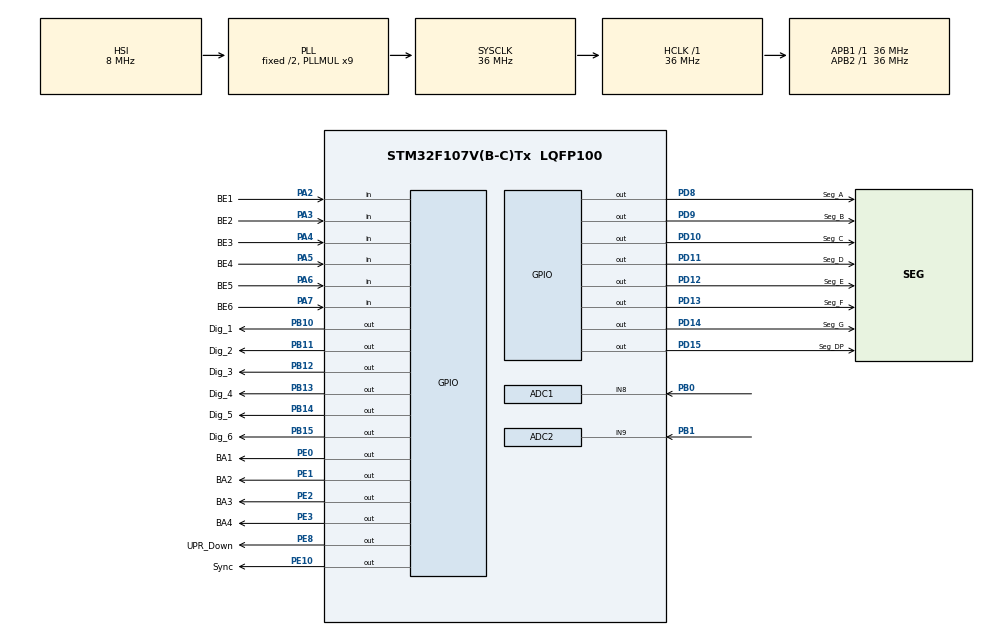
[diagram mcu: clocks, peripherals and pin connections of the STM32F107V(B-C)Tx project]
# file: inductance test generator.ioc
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ADC1.Channel-0\#ChannelRegularConversion=ADC_CHANNEL_8
ADC1.ContinuousConvMode=ENABLE
ADC1.NbrOfConversionFlag=1
ADC1.Rank-0\#ChannelRegularConversion=1
ADC1.SamplingTime-0\#ChannelRegularConversion=ADC_SAMPLETIME_1CYCLE_5
ADC1.master=1
ADC2.Channel-1\#ChannelRegularConversion=ADC_CHANNEL_9
ADC2.ContinuousConvMode=DISABLE
ADC2.EnableRegularConversion=ENABLE
ADC2.ExternalTrigConv=ADC_EXTERNALTRIGCONV_T2_CC2
ADC2.NbrOfConversionFlag=1
ADC2.Rank-1\#ChannelRegularConversion=1
ADC2.SamplingTime-1\#ChannelRegularConversion=ADC_SAMPLETIME_13CYCLES_5
Mcu.Family=STM32F1
Mcu.Name=STM32F107V(B-C)Tx
Mcu.Package=LQFP100
NVIC.PriorityGroup=NVIC_PRIORITYGROUP_4
NVIC.TIM2_IRQn=true\:5\:0\:false\:false\:true\:false\:true\:false
PA13.Mode=Serial_Wire
PA13.Signal=SYS_JTMS-SWDIO
PA14.Mode=Serial_Wire
PA14.Signal=SYS_JTCK-SWCLK
PA2.GPIO_Label=BE1
PA2.Signal=GPIO_Input
PA3.GPIO_Label=BE2
PA3.Signal=GPIO_Input
PA4.GPIO_Label=BE3
PA4.Signal=GPIO_Input
PA5.GPIO_Label=BE4
PA5.Signal=GPIO_Input
PA6.GPIO_Label=BE5
PA6.Signal=GPIO_Input
PA7.GPIO_Label=BE6
PA7.Signal=GPIO_Input
PB0.Signal=ADCx_IN8
PB1.Signal=ADCx_IN9
PB10.GPIO_Label=Dig_1
PB10.Signal=GPIO_Output
PB11.GPIO_Label=Dig_2
PB11.Signal=GPIO_Output
PB12.GPIO_Label=Dig_3
PB12.Signal=GPIO_Output
PB13.GPIO_Label=Dig_4
PB13.Signal=GPIO_Output
PB14.GPIO_Label=Dig_5
PB14.Signal=GPIO_Output
PB15.GPIO_Label=Dig_6
PB15.Signal=GPIO_Output
PD10.GPIO_Label=Seg_C
PD10.Signal=GPIO_Output
PD11.GPIO_Label=Seg_D
PD11.Signal=GPIO_Output
PD12.GPIO_Label=Seg_E
PD12.Signal=GPIO_Output
PD13.GPIO_Label=Seg_F
PD13.Signal=GPIO_Output
PD14.GPIO_Label=Seg_G
PD14.Signal=GPIO_Output
PD15.GPIO_Label=Seg_DP
PD15.Signal=GPIO_Output
PD8.GPIO_Label=Seg_A
PD8.Signal=GPIO_Output
PD9.GPIO_Label=Seg_B
PD9.Signal=GPIO_Output
PE0.GPIO_Label=BA1
PE0.Signal=GPIO_Output
PE1.GPIO_Label=BA2
PE1.Signal=GPIO_Output
PE10.GPIO_Label=Sync
PE10.Signal=GPIO_Output
PE2.GPIO_Label=BA3
PE2.Signal=GPIO_Output
PE3.GPIO_Label=BA4
PE3.Signal=GPIO_Output
PE8.GPIO_Label=UPR_Down
PE8.Signal=GPIO_Output
ProjectManager.HeapSize=0x200
ProjectManager.StackSize=0x400
ProjectManager.TargetToolchain=STM32CubeIDE
RCC.ADCPresc=RCC_ADCPCLK2_DIV4
RCC.AHBFreq_Value=36000000
RCC.APB1Freq_Value=36000000
RCC.APB1TimFreq_Value=36000000
RCC.APB2Freq_Value=36000000
RCC.APB2TimFreq_Value=36000000
RCC.HCLKFreq_Value=36000000
RCC.PLLMUL=RCC_PLL_MUL9
RCC.SYSCLKFreq_VALUE=36000000
RCC.SYSCLKSource=RCC_SYSCLKSOURCE_PLLCLK
RCC.USBFreq_Value=24000000
SH.ADCx_IN8.0=ADC1_IN8,IN8
SH.ADCx_IN9.0=ADC2_IN9,IN9
TIM2.Channel-Output\ Compare2\ No\ Output=TIM_CHANNEL_2
TIM2.OCMode_2=TIM_OCMODE_PWM1
TIM2.Period=719
TIM2.TIM_MasterOutputTrigger=TIM_TRGO_UPDATE
VP_TIM2_VS_ClockSourceINT.Mode=Internal
VP_TIM2_VS_no_output2.Mode=Output Compare2 No Output
board=custom

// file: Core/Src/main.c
/* USER CODE BEGIN Header */
/**
  ******************************************************************************
  * @file           : main.c
  * @brief          : Main program body
  ******************************************************************************
  * @attention
  *
  * Copyright (c) 2026 STMicroelectronics.
  * All rights reserved.
  *
  * This software is licensed under terms that can be found in the LICENSE file
  * in the root directory of this software component.
  * If no LICENSE file comes with this software, it is provided AS-IS.
  *
  ******************************************************************************
  */
/* USER CODE END Header */
#include "main.h"

/* USER CODE BEGIN Includes */
#include "7SegmentH.h"
/* USER CODE END Includes */

/* USER CODE BEGIN PD */
#define U_target 1254				//целевое напряжение 80В (калибровка АЦП1)
#define U_safe 334				//напряжение 20В (калибровка АЦП1)
#define MAX_PULSE_MS 500			// мс, макс. длительность открытого состояния транзистора в импульсе (защита от зависания)
#define I_STEP 5				// А, шаг регулировки I
#define I_MIN 10				// А, минимальная уставка I
#define I_MAX 300				// А, максимальная уставка I
#define L_max 51000				// мкГн, кратно L_STEP_MILLI (макс. уставка = L_max-L_STEP_MILLI = 50000)
#define L_MIN 10				// мкГн, минимальная уставка L
#define L_MILLI_THRESHOLD 1000			// мкГн (=1 мГн) - порог смены шага регулировки L
#define L_STEP_MICRO 10				// мкГн, шаг регулировки L пока L < L_MILLI_THRESHOLD
#define L_STEP_MILLI 1000			// мкГн, шаг регулировки L начиная с L_MILLI_THRESHOLD (1 мГн - один видимый "тик" на экране)
#define dt 20				// мкс, период тика TIM2 = период выборки АЦП2 (см. MX_TIM2_Init)
#define L_SAT_RATIO 0.97f			// порог начала насыщения: L_eff/L_target
#define BUTTON_REPEAT_MS 150			// мс, мин. интервал между шагами I/L при удержании кнопки
#define LAMP_MIN_ON_MS 400			// мс, мин. время свечения лампы "Импульс" (BA4) - реальный импульс часто короче, чем успевает заметить глаз

#define U_ADC_OFFSET 25				// отсчётов АЦП1 при 0В (калибровка 0-100В/5В, МНК)
#define ADC_TO_MV 65.09f			// мВ на 1 отсчёт АЦП1 сверх офсета (калибровка 0-100В/5В, МНК)
#define ADC1_TO_MV(adc) ( ((float)(adc) > U_ADC_OFFSET) ? (((float)(adc) - U_ADC_OFFSET) * ADC_TO_MV) : 0.0f )

#define ADC_TO_MA 82.61f			// мА на 1 отсчёт АЦП2 (калибровка по 3007.xlsx, 35-78А, МНК через ноль)

// Насыщение (case 4): dI по окну из нескольких сэмплов АЦП2 + гистерезис + целочисленная
// арифметика вместо float - см. CLAUDE.md, раздел про state 4, почему одиночный сэмпл
// давал ложные срабатывания.
// Окно/гистерезис зависят от уставки L (см. Sat_Window_Active/Sat_Hysteresis_Active, выставляются
// при старте импульса в case 3): для L ниже SAT_SMALL_L_THRESHOLD_UH бюджет времени на подтверждение
// насыщения (WIN*HYST*dt) становится сравним с самой длительностью импульса до токового предела
// (t~L*I/U) - там используем более быстрые 8/3; для L покрупнее (испытано на стенде на ДУТ 30мГн)
// запас времени большой, поэтому 16/4 нарочно отодвигает срабатывание, чтобы перегиб успел
// развернуться на экране осциллографа - см. CLAUDE.md, раздел "Trade-off for small L".
#define SAT_WINDOW_SAMPLES_SMALL_L 8		// сэмплов АЦП2 на окно, L < SAT_SMALL_L_THRESHOLD_UH
#define SAT_HYSTERESIS_COUNT_SMALL_L 3		// подряд идущих "насыщенных" окон, L < SAT_SMALL_L_THRESHOLD_UH
#define SAT_WINDOW_SAMPLES_LARGE_L 16		// сэмплов АЦП2 на окно, L >= SAT_SMALL_L_THRESHOLD_UH
#define SAT_HYSTERESIS_COUNT_LARGE_L 4		// подряд идущих "насыщенных" окон, L >= SAT_SMALL_L_THRESHOLD_UH - не опускать ниже 4 при окне 16: WIN=16/HYST=3 на бенч-данных (DATA/Newfile1eee.csv) дал ложное срабатывание на 31.85мс/36А (ещё до реального насыщения, от спада наклона из-за сопротивления контура)
#define SAT_SMALL_L_THRESHOLD_UH 1000		// мкГн (=1 мГн) - порог переключения окна/гистерезиса насыщения (не путать с L_MILLI_THRESHOLD - тот про шаг регулировки/индикацию, здесь совпадение значения не принципиально)
#define ADC_TO_MV_FIXED100 6509		// ADC_TO_MV*100, целое (см. ADC_TO_MV)
#define ADC_TO_MA_FIXED100 8261		// ADC_TO_MA*100, целое (см. ADC_TO_MA)
#define L_SAT_RATIO_FIXED100 97		// L_SAT_RATIO*100, целое (см. L_SAT_RATIO)
#define SAT_CUTOFF_DELAY_MS 6		// мс, задержка от подтверждённого saturated=true до реального размыкания транзистора -
					// чтобы "хвостик" насыщения успел развернуться на экране осциллографа (см. CLAUDE.md,
					// раздел про state 4/насыщение). Не касается overcurrent - тот остаётся мгновенным
					// аппаратным пределом, задержка добавляется только для ветки насыщения.
/* USER CODE END PD */

ADC_HandleTypeDef hadc1;
ADC_HandleTypeDef hadc2;

TIM_HandleTypeDef htim2;

/* USER CODE BEGIN PV */
uint8_t Stop,Pusk,I_Plus,I_Minus,L_Plus,L_Minus,L_Pressed,I_Pressed;//buttons&flags
uint8_t state = 1;
uint16_t I=10;
uint16_t L=100;
uint16_t U_adc=0,U, I_adc=0;//u=adc1
uint8_t Measuring_First_Sample;
uint32_t Time;//время
uint32_t Button_Repeat_Time;
uint32_t Pulse_Time;//момент начала импульса (state 4), для защиты от зависания транзистора
volatile uint32_t Tim2_Tick_Count;//инкрементируется в HAL_TIM_PeriodElapsedCallback (TIM2 update IRQ), реальное число тиков TIM2 (dt=20мкс каждый) - не зависит от скорости главного цикла
uint16_t I_window_start;//I_adc в начале текущего окна усреднения dI (насыщение, case 4)
uint32_t Tick_window_start;//Tim2_Tick_Count в начале текущего окна
uint8_t Samples_In_Window;//сколько сэмплов АЦП2 накоплено в текущем окне
uint8_t Saturation_Hit_Count;//сколько подряд окон подряд показали насыщение (гистерезис)
uint8_t Sat_Window_Active;//SAT_WINDOW_SAMPLES_SMALL_L/LARGE_L - выбирается по L при старте импульса (case 3)
uint8_t Sat_Hysteresis_Active;//SAT_HYSTERESIS_COUNT_SMALL_L/LARGE_L - выбирается по L при старте импульса (case 3)
uint8_t Saturation_Confirmed;//saturated уже был true хотя бы раз в этом импульсе - см. SAT_CUTOFF_DELAY_MS
uint32_t Saturation_Confirmed_Time;//HAL_GetTick() в момент первого saturated=true в этом импульсе
uint32_t Lamp_On_Time;//момент включения лампы "Импульс" (BA4), для LAMP_MIN_ON_MS
uint8_t Lamp_Pending_Off;//реальный импульс уже закончился, лампа гаснет отложенно по таймеру
/* USER CODE END PV */

void SystemClock_Config(void);
static void MX_GPIO_Init(void);
static void MX_ADC1_Init(void);
static void MX_ADC2_Init(void);
static void MX_TIM2_Init(void);

int main(void)
{

  /* MCU Configuration--------------------------------------------------------*/

  /* Reset of all peripherals, Initializes the Flash interface and the Systick. */
  HAL_Init();

  /* Configure the system clock */
  SystemClock_Config();

  /* Initialize all configured peripherals */
  MX_GPIO_Init();
  MX_ADC1_Init();
  MX_ADC2_Init();
  MX_TIM2_Init();
  /* USER CODE BEGIN 2 */
  HAL_ADCEx_Calibration_Start(&hadc1);
  HAL_ADCEx_Calibration_Start(&hadc2);
  HAL_TIM_OC_Start(&htim2, TIM_CHANNEL_2);
  HAL_TIM_Base_Start_IT(&htim2);//включает update-прерывание TIM2 (см. Tim2_Tick_Count/HAL_TIM_PeriodElapsedCallback) - не влияет на уже настроенный OC-канал
  HAL_ADC_Start(&hadc1);
  HAL_ADC_Start(&hadc2);
  Time=HAL_GetTick()-5000;
  HAL_GPIO_WritePin(BA1_GPIO_Port, BA1_Pin, RESET);//зарядный контактор
  HAL_GPIO_WritePin(BA2_GPIO_Port, BA2_Pin, SET);  //разрядный контактор
  /* USER CODE END 2 */

  /* Infinite loop */
  /* USER CODE BEGIN WHILE */
  while (1)
  {
	 if( HAL_ADC_GetValue(&hadc1) < U_safe ) HAL_GPIO_WritePin(BA3_GPIO_Port, BA3_Pin, SET);//безопасное напряжение
	 else HAL_GPIO_WritePin(BA3_GPIO_Port, BA3_Pin, RESET);//безопасное напряжение

	 if (Lamp_Pending_Off && (HAL_GetTick() - Lamp_On_Time) >= LAMP_MIN_ON_MS)
	 {//реальный импульс (транзистор/Sync) уже закончился раньше - лампа "Импульс" гаснет только теперь, чтобы глаз успел увидеть вспышку
		 HAL_GPIO_WritePin(BA4_GPIO_Port, BA4_Pin, RESET);
		 Lamp_Pending_Off = 0;
	 }

	 U_adc = HAL_ADC_GetValue(&hadc1);
	 U = (uint16_t)(ADC1_TO_MV(U_adc) / 1000.0f);//напряжение в вольтах (для индикации)

	 switch (state){
	 	 case 1:									//чтение кнопок, отображение U

	 		if ( (HAL_GetTick()-Time)>5000 ){
	 			 L_Pressed = 0;
	 			 I_Pressed = 0;
				 DisplayPrintU(U);	//отображение напряжения через 5 сек
			 }
			 else {									//отображаем L/I
				 if (I_Pressed)
				 {
					 DisplayPrint3Digits(I, 1);	//отображаем I
				 }
				 if (L_Pressed)
				 {
					 DisplayPrintL(L);	// отображаем L
				 }
			 }

	 		 Stop=HAL_GPIO_ReadPin(BE1_GPIO_Port, BE1_Pin);//стоп
	 		 Pusk=HAL_GPIO_ReadPin(BE2_GPIO_Port, BE2_Pin);//Пуск
	 		 I_Plus=HAL_GPIO_ReadPin(BE3_GPIO_Port, BE3_Pin);//I+
	 		 I_Minus=HAL_GPIO_ReadPin(BE4_GPIO_Port, BE4_Pin);//I-
	 		 L_Plus=HAL_GPIO_ReadPin(BE5_GPIO_Port, BE5_Pin);//L+
	 		 L_Minus=HAL_GPIO_ReadPin(BE6_GPIO_Port, BE6_Pin);//L-

	 		 if ((I_Plus+I_Minus+L_Plus+L_Minus) != 0) {
	 			 state=2;							//нажата кнопка регулировки, отображаем параметры
	 		 }
	 		 if (Pusk && !Stop) {
	 			 HAL_GPIO_WritePin(BA1_GPIO_Port, BA1_Pin, SET);//зарядный контактор
	 			 HAL_GPIO_WritePin(BA2_GPIO_Port, BA2_Pin, RESET);  //разрядный контактор
	 			 state=3;						//нажата пуск, переход к шагу 3
	 			 Time=HAL_GetTick();
	 		 }

	 		 break;

	 	 case 2:									//кнопки нажаты, Отображение
	 		 Time = HAL_GetTick();
	 		 if ((HAL_GetTick() - Button_Repeat_Time) >= BUTTON_REPEAT_MS)
	 		 {
	 			 Button_Repeat_Time = HAL_GetTick();
	 			 if ( (I_Plus+I_Minus) !=0)
	 			 {
	 				 if (I_Plus) I+=I_STEP;
	 				 else I-=I_STEP;
	 				 if (I < I_MIN) I=I_MIN;
	 				 if (I > I_MAX) I=I_MAX;
	 				 DisplayPrint3Digits(I, 1);	//отображаем I
	 				 I_Pressed= 1;
	 				 L_Pressed =0;
	 			 }
				 if ( (L_Plus+L_Minus) != 0)
				 {
					 uint16_t L_step = (L < L_MILLI_THRESHOLD) ? L_STEP_MICRO : L_STEP_MILLI;//мкГн пока микро, мГн - шаг 1000
					 if (L_Plus) {
						 L+=L_step;
					 } else if (L == L_MILLI_THRESHOLD) {
						 L = L_MILLI_THRESHOLD - L_STEP_MICRO;
					 } else {
						 L-=L_step;
					 }
					 if (L==0) L=L_MIN;
					 if (L>=L_max) L=L_max-L_STEP_MILLI;
					 DisplayPrintL(L);	// отображаем L
					 L_Pressed = 1;
					 I_Pressed = 0;
				 }
	 		 }
			 state = 1;								//вернулись к считыванию
			 break;

	 	 case 3: 									//нажат пуск. отображение U, заряд, отслеживание времени.

	 		 Stop=HAL_GPIO_ReadPin(BE1_GPIO_Port, BE1_Pin);//стоп
	 		 if (Stop) {								//прервали заряд вручную
	 			 state = 5;			//переходим к разряду
	 			 HAL_GPIO_WritePin(BA1_GPIO_Port, BA1_Pin, RESET);//зарядный контактор
	 			 break;
	 		 }

	 		 DisplayPrintU(U); 		//отображение напряжения
	 		 U_adc=HAL_ADC_GetValue(&hadc1);			//вопрос какой АЦП
	 		 if (U_adc>U_target) {
	 			 state =4;			//зарядились, переходим к 4
	 			 HAL_GPIO_WritePin(BA1_GPIO_Port, BA1_Pin, RESET);//зарядный контактор
	 			 HAL_GPIO_WritePin(UPR_Down_GPIO_Port, UPR_Down_Pin, SET);//замыкание транзистора, старт импульса
	 			 HAL_GPIO_WritePin(BA4_GPIO_Port, BA4_Pin, SET);//лампа "Импульс"
	 			 HAL_GPIO_WritePin(Sync_GPIO_Port, Sync_Pin, SET);//синхросигнал для осциллографа
	 			 Measuring_First_Sample = 1;
	 			 Pulse_Time = HAL_GetTick();
	 			 Lamp_On_Time = Pulse_Time;
	 			 Lamp_Pending_Off = 0;
	 			 if (L < SAT_SMALL_L_THRESHOLD_UH) {
	 				 Sat_Window_Active = SAT_WINDOW_SAMPLES_SMALL_L;
	 				 Sat_Hysteresis_Active = SAT_HYSTERESIS_COUNT_SMALL_L;
	 			 } else {
	 				 Sat_Window_Active = SAT_WINDOW_SAMPLES_LARGE_L;
	 				 Sat_Hysteresis_Active = SAT_HYSTERESIS_COUNT_LARGE_L;
	 			 }
	 			 Saturation_Confirmed = 0;
	 		 }
	 		 if ( (HAL_GetTick()-Time)>105000 ){		//ошибка заряда по времени (105с)
	 			state = 6;
	 			HAL_GPIO_WritePin(BA1_GPIO_Port, BA1_Pin, RESET);//зарядный контактор
	 			HAL_GPIO_WritePin(BA2_GPIO_Port, BA2_Pin, SET);  //разрядный контактор
	 		 }
	 		 break;

	 	 case 4://зарядились, импульс тока, контроль I и насыщения
	 		 if ( (HAL_GetTick()-Pulse_Time) > MAX_PULSE_MS ){	//транзистор завис открытым дольше расчётного максимума
	 			 HAL_GPIO_WritePin(UPR_Down_GPIO_Port, UPR_Down_Pin, RESET);//размыкание транзистора
	 			 Lamp_Pending_Off = 1;//лампа "Импульс" гаснет отложенно, см. LAMP_MIN_ON_MS
	 			 HAL_GPIO_WritePin(Sync_GPIO_Port, Sync_Pin, RESET);//синхросигнал для осциллографа
	 			 HAL_GPIO_WritePin(BA2_GPIO_Port, BA2_Pin, SET);  //разрядный контактор
	 			 state = 6;//ошибка
	 			 break;
	 		 }
	 		 if (__HAL_ADC_GET_FLAG(&hadc2, ADC_FLAG_EOC))
	 		 {
	 			 I_adc = HAL_ADC_GetValue(&hadc2);//чтение DR аппаратно снимает EOC на F1

	 			 if (Measuring_First_Sample)
	 			 {
	 				 I_window_start = I_adc;
	 				 Tick_window_start = Tim2_Tick_Count;
	 				 Samples_In_Window = 0;
	 				 Saturation_Hit_Count = 0;
	 				 Measuring_First_Sample = 0;
	 				 break;
	 			 }

	 			 uint8_t overcurrent = ((uint32_t)I_adc * ADC_TO_MA_FIXED100) >= ((uint32_t)I * 100000u);//I задаётся в А, переводим в мА (×100 для ADC_TO_MA_FIXED100)
	 			 uint8_t saturated = 0;

	 			 Samples_In_Window++;
	 			 if (Samples_In_Window >= Sat_Window_Active)
	 			 {
	 				 int32_t dI_window = (int32_t)I_adc - (int32_t)I_window_start;
	 				 uint32_t ticks_elapsed = Tim2_Tick_Count - Tick_window_start;//реальное число тиков TIM2 за окно - устойчиво к пропущенным сэмплам АЦП2

	 				 if (dI_window > 0 && ticks_elapsed > 0)
	 				 {
	 					 int64_t numerator = (int64_t)((int32_t)U_adc - U_ADC_OFFSET) * ADC_TO_MV_FIXED100 * ((int64_t)ticks_elapsed * dt);
	 					 int64_t denominator = (int64_t)dI_window * ADC_TO_MA_FIXED100;
	 					 int32_t L_eff_uH = (int32_t)(numerator / denominator);//множители ×100 (ADC_TO_MV_FIXED100/ADC_TO_MA_FIXED100) сокращаются

	 					 if (L_eff_uH < (int32_t)(((int32_t)L * L_SAT_RATIO_FIXED100) / 100)) Saturation_Hit_Count++;//достигли начала насыщения
	 					 else Saturation_Hit_Count = 0;
	 				 }
	 				 else
	 				 {
	 					 Saturation_Hit_Count = 0;//ток за окно не вырос - не насыщение, сброс серии
	 				 }

	 				 I_window_start = I_adc;
	 				 Tick_window_start = Tim2_Tick_Count;
	 				 Samples_In_Window = 0;
	 			 }
	 			 saturated = (Saturation_Hit_Count >= Sat_Hysteresis_Active);

	 			 if (saturated && !Saturation_Confirmed)
	 			 {
	 				 Saturation_Confirmed = 1;//насыщение подтверждено впервые в этом импульсе - запускаем задержку SAT_CUTOFF_DELAY_MS
	 				 Saturation_Confirmed_Time = HAL_GetTick();
	 			 }
	 			 uint8_t saturation_cutoff = Saturation_Confirmed && ((HAL_GetTick() - Saturation_Confirmed_Time) >= SAT_CUTOFF_DELAY_MS);

	 			 if (overcurrent || saturation_cutoff)
	 			 {
	 				 HAL_GPIO_WritePin(UPR_Down_GPIO_Port, UPR_Down_Pin, RESET);//размыкание транзистора
	 				 Lamp_Pending_Off = 1;//лампа "Импульс" гаснет отложенно, см. LAMP_MIN_ON_MS
	 				 HAL_GPIO_WritePin(Sync_GPIO_Port, Sync_Pin, RESET);//синхросигнал для осциллографа
	 				 state = 5;//штатное завершение - переходим к разряду
	 			 }
	 		 }
	 		 break;

	 	 case 5: //разряд, переход к 1
	 		 HAL_GPIO_WritePin(BA2_GPIO_Port, BA2_Pin, SET);  //разрядный контактор
	 		 state = 1;
	 		 break;

	 	 case 6://ошибки, сброс, переход к 1
	 		 Display_Error();
	 		 I_Plus=HAL_GPIO_ReadPin(BE3_GPIO_Port, BE3_Pin);//I+
			 I_Minus=HAL_GPIO_ReadPin(BE4_GPIO_Port, BE4_Pin);//I-
			 L_Plus=HAL_GPIO_ReadPin(BE5_GPIO_Port, BE5_Pin);//L+
			 L_Minus=HAL_GPIO_ReadPin(BE6_GPIO_Port, BE6_Pin);//L-
			 HAL_GPIO_WritePin(UPR_Down_GPIO_Port, UPR_Down_Pin, RESET);//размыкание транзистора
			 HAL_GPIO_WritePin(Sync_GPIO_Port, Sync_Pin, RESET);//синхросигнал для осциллографа
			 HAL_GPIO_WritePin(BA1_GPIO_Port, BA1_Pin, RESET);//зарядный контактор
			 HAL_GPIO_WritePin(BA2_GPIO_Port, BA2_Pin, SET);  //разрядный контактор

			 if ((I_Plus+I_Minus+L_Plus+L_Minus) == 4)
			 {
				 state=1;										//сброс ошибки
				 HAL_GPIO_WritePin(BA2_GPIO_Port, BA2_Pin, RESET);  //разрядный контактор
			 }
	 		 break;

	 }
    /* USER CODE END WHILE */

  }
}

void SystemClock_Config(void)
{
  RCC_OscInitTypeDef RCC_OscInitStruct = {0};
  RCC_ClkInitTypeDef RCC_ClkInitStruct = {0};
  RCC_PeriphCLKInitTypeDef PeriphClkInit = {0};

  /** Initializes the RCC Oscillators according to the specified parameters
  * in the RCC_OscInitTypeDef structure.
  */
  RCC_OscInitStruct.OscillatorType = RCC_OSCILLATORTYPE_HSI;
  RCC_OscInitStruct.HSIState = RCC_HSI_ON;
  RCC_OscInitStruct.HSICalibrationValue = RCC_HSICALIBRATION_DEFAULT;
  RCC_OscInitStruct.Prediv1Source = RCC_PREDIV1_SOURCE_HSE;
  RCC_OscInitStruct.PLL.PLLState = RCC_PLL_ON;
  RCC_OscInitStruct.PLL.PLLSource = RCC_PLLSOURCE_HSI_DIV2;
  RCC_OscInitStruct.PLL.PLLMUL = RCC_PLL_MUL9;
  RCC_OscInitStruct.PLL2.PLL2State = RCC_PLL_NONE;
  if (HAL_RCC_OscConfig(&RCC_OscInitStruct) != HAL_OK)
  {
    Error_Handler();
  }

  /** Initializes the CPU, AHB and APB buses clocks
  */
  RCC_ClkInitStruct.ClockType = RCC_CLOCKTYPE_HCLK|RCC_CLOCKTYPE_SYSCLK
                              |RCC_CLOCKTYPE_PCLK1|RCC_CLOCKTYPE_PCLK2;
  RCC_ClkInitStruct.SYSCLKSource = RCC_SYSCLKSOURCE_PLLCLK;
  RCC_ClkInitStruct.AHBCLKDivider = RCC_SYSCLK_DIV1;
  RCC_ClkInitStruct.APB1CLKDivider = RCC_HCLK_DIV1;
  RCC_ClkInitStruct.APB2CLKDivider = RCC_HCLK_DIV1;

  if (HAL_RCC_ClockConfig(&RCC_ClkInitStruct, FLASH_LATENCY_1) != HAL_OK)
  {
    Error_Handler();
  }
  PeriphClkInit.PeriphClockSelection = RCC_PERIPHCLK_ADC;
  PeriphClkInit.AdcClockSelection = RCC_ADCPCLK2_DIV4;
  if (HAL_RCCEx_PeriphCLKConfig(&PeriphClkInit) != HAL_OK)
  {
    Error_Handler();
  }

  /** Configure the Systick interrupt time
  */
  __HAL_RCC_PLLI2S_ENABLE();
}

static void MX_ADC1_Init(void)
{

  ADC_ChannelConfTypeDef sConfig = {0};

  /** Common config
  */
  hadc1.Instance = ADC1;
  hadc1.Init.ScanConvMode = ADC_SCAN_DISABLE;
  hadc1.Init.ContinuousConvMode = ENABLE;
  hadc1.Init.DiscontinuousConvMode = DISABLE;
  hadc1.Init.ExternalTrigConv = ADC_SOFTWARE_START;
  hadc1.Init.DataAlign = ADC_DATAALIGN_RIGHT;
  hadc1.Init.NbrOfConversion = 1;
  if (HAL_ADC_Init(&hadc1) != HAL_OK)
  {
    Error_Handler();
  }

  /** Configure Regular Channel
  */
  sConfig.Channel = ADC_CHANNEL_8;
  sConfig.Rank = ADC_REGULAR_RANK_1;
  sConfig.SamplingTime = ADC_SAMPLETIME_1CYCLE_5;
  if (HAL_ADC_ConfigChannel(&hadc1, &sConfig) != HAL_OK)
  {
    Error_Handler();
  }

}

static void MX_ADC2_Init(void)
{

  ADC_ChannelConfTypeDef sConfig = {0};

  /** Common config
  */
  hadc2.Instance = ADC2;
  hadc2.Init.ScanConvMode = ADC_SCAN_DISABLE;
  hadc2.Init.ContinuousConvMode = DISABLE;
  hadc2.Init.DiscontinuousConvMode = DISABLE;
  hadc2.Init.ExternalTrigConv = ADC_EXTERNALTRIGCONV_T2_CC2;
  hadc2.Init.DataAlign = ADC_DATAALIGN_RIGHT;
  hadc2.Init.NbrOfConversion = 1;
  if (HAL_ADC_Init(&hadc2) != HAL_OK)
  {
    Error_Handler();
  }

  /** Configure Regular Channel
  */
  sConfig.Channel = ADC_CHANNEL_9;
  sConfig.Rank = ADC_REGULAR_RANK_1;
  sConfig.SamplingTime = ADC_SAMPLETIME_13CYCLES_5;
  if (HAL_ADC_ConfigChannel(&hadc2, &sConfig) != HAL_OK)
  {
    Error_Handler();
  }

}

static void MX_TIM2_Init(void)
{

  TIM_ClockConfigTypeDef sClockSourceConfig = {0};
  TIM_MasterConfigTypeDef sMasterConfig = {0};
  TIM_OC_InitTypeDef sConfigOC = {0};

  htim2.Instance = TIM2;
  htim2.Init.Prescaler = 0;
  htim2.Init.CounterMode = TIM_COUNTERMODE_UP;
  htim2.Init.Period = 719;			// 20 мкс @ 36 МГц (см. dt в USER CODE BEGIN PD)
  htim2.Init.ClockDivision = TIM_CLOCKDIVISION_DIV1;
  htim2.Init.AutoReloadPreload = TIM_AUTORELOAD_PRELOAD_DISABLE;
  if (HAL_TIM_Base_Init(&htim2) != HAL_OK)
  {
    Error_Handler();
  }
  sClockSourceConfig.ClockSource = TIM_CLOCKSOURCE_INTERNAL;
  if (HAL_TIM_ConfigClockSource(&htim2, &sClockSourceConfig) != HAL_OK)
  {
    Error_Handler();
  }
  if (HAL_TIM_OC_Init(&htim2) != HAL_OK)
  {
    Error_Handler();
  }
  sMasterConfig.MasterOutputTrigger = TIM_TRGO_UPDATE;
  sMasterConfig.MasterSlaveMode = TIM_MASTERSLAVEMODE_DISABLE;
  if (HAL_TIMEx_MasterConfigSynchronization(&htim2, &sMasterConfig) != HAL_OK)
  {
    Error_Handler();
  }
  sConfigOC.OCMode = TIM_OCMODE_PWM1;//ACTIVE даёт фронт OC2REF только один раз при первом совпадении и не сбрасывается - АЦП2 не видит повторных фронтов; PWM1 переключает каждый период
  sConfigOC.Pulse = 360;//не 0 - иначе событие сравнения совпадает с обнулением CNT и ADC2 не ретриггерится
  sConfigOC.OCPolarity = TIM_OCPOLARITY_HIGH;
  sConfigOC.OCFastMode = TIM_OCFAST_DISABLE;
  if (HAL_TIM_OC_ConfigChannel(&htim2, &sConfigOC, TIM_CHANNEL_2) != HAL_OK)
  {
    Error_Handler();
  }

}

static void MX_GPIO_Init(void)
{
  GPIO_InitTypeDef GPIO_InitStruct = {0};

  /* GPIO Ports Clock Enable */
  __HAL_RCC_GPIOE_CLK_ENABLE();
  __HAL_RCC_GPIOA_CLK_ENABLE();
  __HAL_RCC_GPIOB_CLK_ENABLE();
  __HAL_RCC_GPIOD_CLK_ENABLE();

  /*Configure GPIO pin Output Level */
  HAL_GPIO_WritePin(GPIOE, BA3_Pin|BA4_Pin|UPR_Down_Pin|Sync_Pin
                          |BA1_Pin|BA2_Pin, GPIO_PIN_RESET);

  /*Configure GPIO pin Output Level */
  HAL_GPIO_WritePin(GPIOB, Dig_1_Pin|Dig_2_Pin|Dig_3_Pin|Dig_4_Pin
                          |Dig_5_Pin|Dig_6_Pin, GPIO_PIN_RESET);

  /*Configure GPIO pin Output Level */
  HAL_GPIO_WritePin(GPIOD, Seg_A_Pin|Seg_B_Pin|Seg_C_Pin|Seg_D_Pin
                          |Seg_E_Pin|Seg_F_Pin|Seg_G_Pin|Seg_DP_Pin, GPIO_PIN_RESET);

  /*Configure GPIO pins : BA3_Pin BA4_Pin UPR_Down_Pin Sync_Pin
                           BA1_Pin BA2_Pin */
  GPIO_InitStruct.Pin = BA3_Pin|BA4_Pin|UPR_Down_Pin|Sync_Pin
                          |BA1_Pin|BA2_Pin;
  GPIO_InitStruct.Mode = GPIO_MODE_OUTPUT_PP;
  GPIO_InitStruct.Pull = GPIO_NOPULL;
  GPIO_InitStruct.Speed = GPIO_SPEED_FREQ_LOW;
  HAL_GPIO_Init(GPIOE, &GPIO_InitStruct);

  /*Configure GPIO pins : BE1_Pin BE2_Pin BE3_Pin BE4_Pin
                           BE5_Pin BE6_Pin */
  GPIO_InitStruct.Pin = BE1_Pin|BE2_Pin|BE3_Pin|BE4_Pin
                          |BE5_Pin|BE6_Pin;
  GPIO_InitStruct.Mode = GPIO_MODE_INPUT;
  GPIO_InitStruct.Pull = GPIO_NOPULL;
  HAL_GPIO_Init(GPIOA, &GPIO_InitStruct);

  /*Configure GPIO pins : Dig_1_Pin Dig_2_Pin Dig_3_Pin Dig_4_Pin
                           Dig_5_Pin Dig_6_Pin */
  GPIO_InitStruct.Pin = Dig_1_Pin|Dig_2_Pin|Dig_3_Pin|Dig_4_Pin
                          |Dig_5_Pin|Dig_6_Pin;
  GPIO_InitStruct.Mode = GPIO_MODE_OUTPUT_PP;
  GPIO_InitStruct.Pull = GPIO_NOPULL;
  GPIO_InitStruct.Speed = GPIO_SPEED_FREQ_LOW;
  HAL_GPIO_Init(GPIOB, &GPIO_InitStruct);

  /*Configure GPIO pins : Seg_A_Pin Seg_B_Pin Seg_C_Pin Seg_D_Pin
                           Seg_E_Pin Seg_F_Pin Seg_G_Pin Seg_DP_Pin */
  GPIO_InitStruct.Pin = Seg_A_Pin|Seg_B_Pin|Seg_C_Pin|Seg_D_Pin
                          |Seg_E_Pin|Seg_F_Pin|Seg_G_Pin|Seg_DP_Pin;
  GPIO_InitStruct.Mode = GPIO_MODE_OUTPUT_PP;
  GPIO_InitStruct.Pull = GPIO_NOPULL;
  GPIO_InitStruct.Speed = GPIO_SPEED_FREQ_LOW;
  HAL_GPIO_Init(GPIOD, &GPIO_InitStruct);

}

/* USER CODE BEGIN 4 */
void HAL_TIM_PeriodElapsedCallback(TIM_HandleTypeDef *htim)
{
	if (htim->Instance == TIM2)
	{
		Tim2_Tick_Count++;//только счётчик реальных тиков TIM2 (dt=20мкс), никакой логики state-machine здесь нет
	}
}
/* USER CODE END 4 */

void Error_Handler(void)
{
  __disable_irq();
  while (1)
  {
  }
}
